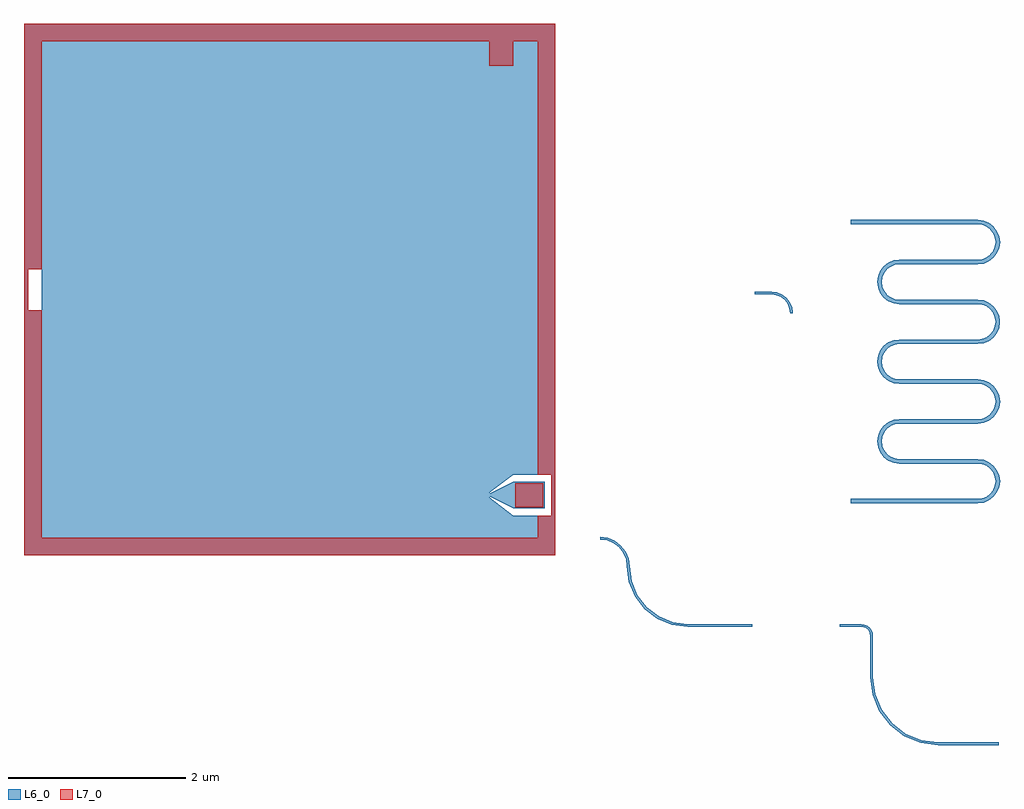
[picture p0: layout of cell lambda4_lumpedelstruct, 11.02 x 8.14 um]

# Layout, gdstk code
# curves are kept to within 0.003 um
import gdstk
lib = gdstk.Library(unit=1e-6, precision=1e-09)
def R(c, l, rs):  # rectangles x0, y0, x1, y1
    for r in rs: c.add(gdstk.rectangle(r[:2], r[2:], *l))
def P(c, l, *ps):  # polygons
    for p in ps: c.add(gdstk.Polygon(p, *l))
L6_0 = (6, 0)
L7_0 = (7, 0)

lambda4_lumpedelstruct = lib.new_cell('lambda4_lumpedelstruct')
R(lambda4_lumpedelstruct, L6_0, [(7.32,-5.142,8.007,-5.112), (4.492,-3.807,5.224,-3.777), (-2.148,-2.335,2.25,-2.305), (-2.478,-2.005,-2.448,-0.398), (-2.148,-0.098,2.069,-0.068), (2.369,0.232,2.399,2.233), (-0.578,2.2,0.352,2.23)])
P(lambda4_lumpedelstruct, L6_0, [(5.65,-0.264),(5.642,-0.21),(5.621,-0.159),(5.588,-0.116),(5.545,-0.082),(5.494,-0.061),(5.44,-0.054),(5.252,-0.054),(5.252,-0.024),(5.44,-0.024),(5.501,-0.032),(5.559,-0.056),(5.608,-0.093),(5.646,-0.142),(5.671,-0.199),(5.679,-0.264)],
  [(6.343,-2.403),(6.343,-2.373),(7.769,-2.373),(7.823,-2.366),(7.874,-2.345),(7.917,-2.311),(7.95,-2.268),(7.971,-2.217),(7.979,-2.163),(7.971,-2.109),(7.95,-2.058),(7.917,-2.015),(7.874,-1.981),(7.823,-1.96),(7.769,-1.953),(6.883,-1.953),(6.821,-1.945),(6.763,-1.921),(6.714,-1.883),(6.676,-1.833),(6.652,-1.775),(6.643,-1.713),(6.652,-1.651),(6.676,-1.593),(6.714,-1.543),(6.763,-1.505),(6.821,-1.481),(6.883,-1.473),(7.769,-1.473),(7.823,-1.466),(7.874,-1.445),(7.917,-1.411),(7.95,-1.368),(7.971,-1.317),(7.979,-1.263),(7.971,-1.209),(7.95,-1.158),(7.917,-1.115),(7.874,-1.081),(7.823,-1.06),(7.769,-1.053),(6.883,-1.053),(6.822,-1.045),(6.764,-1.021),(6.715,-0.984),(6.677,-0.935),(6.652,-0.878),(6.644,-0.816),(6.652,-0.748),(6.677,-0.691),(6.715,-0.642),(6.764,-0.605),(6.822,-0.581),(6.883,-0.573),(7.769,-0.573),(7.823,-0.566),(7.874,-0.545),(7.917,-0.511),(7.95,-0.468),(7.971,-0.417),(7.979,-0.363),(7.971,-0.309),(7.95,-0.258),(7.917,-0.215),(7.874,-0.181),(7.823,-0.16),(7.769,-0.153),(6.883,-0.153),(6.821,-0.145),(6.763,-0.121),(6.714,-0.083),(6.676,-0.033),(6.652,0.025),(6.643,0.087),(6.652,0.149),(6.676,0.207),(6.714,0.257),(6.763,0.295),(6.821,0.319),(6.883,0.327),(7.769,0.327),(7.823,0.334),(7.874,0.355),(7.917,0.389),(7.95,0.432),(7.971,0.483),(7.979,0.537),(7.971,0.591),(7.95,0.642),(7.917,0.685),(7.874,0.719),(7.823,0.74),(7.769,0.747),(6.343,0.747),(6.343,0.777),(7.769,0.777),(7.831,0.769),(7.889,0.745),(7.938,0.707),(7.976,0.657),(8,0.599),(8.009,0.537),(8,0.475),(7.976,0.417),(7.938,0.367),(7.889,0.329),(7.831,0.305),(7.769,0.297),(6.883,0.297),(6.829,0.29),(6.778,0.269),(6.735,0.235),(6.702,0.192),(6.681,0.141),(6.673,0.087),(6.681,0.033),(6.702,-0.018),(6.735,-0.061),(6.778,-0.095),(6.829,-0.116),(6.883,-0.123),(7.769,-0.123),(7.83,-0.131),(7.888,-0.155),(7.937,-0.192),(7.975,-0.241),(8,-0.298),(8.008,-0.36),(8,-0.428),(7.975,-0.485),(7.937,-0.534),(7.888,-0.571),(7.83,-0.595),(7.769,-0.603),(6.883,-0.603),(6.829,-0.61),(6.778,-0.631),(6.735,-0.665),(6.702,-0.708),(6.681,-0.759),(6.673,-0.813),(6.681,-0.867),(6.702,-0.918),(6.735,-0.961),(6.778,-0.995),(6.829,-1.016),(6.883,-1.023),(7.769,-1.023),(7.831,-1.031),(7.889,-1.055),(7.938,-1.093),(7.976,-1.143),(8,-1.201),(8.009,-1.263),(8,-1.325),(7.976,-1.383),(7.938,-1.433),(7.889,-1.471),(7.831,-1.495),(7.769,-1.503),(6.883,-1.503),(6.829,-1.51),(6.778,-1.531),(6.735,-1.565),(6.702,-1.608),(6.681,-1.659),(6.673,-1.713),(6.681,-1.767),(6.702,-1.818),(6.735,-1.861),(6.778,-1.895),(6.829,-1.916),(6.883,-1.923),(7.769,-1.923),(7.831,-1.931),(7.889,-1.955),(7.938,-1.993),(7.976,-2.043),(8,-2.101),(8.009,-2.163),(8,-2.225),(7.976,-2.283),(7.938,-2.333),(7.889,-2.371),(7.831,-2.395),(7.769,-2.403)],
  [(1.128,-2.285),(1.066,-2.277),(1.008,-2.253),(0.959,-2.215),(0.921,-2.165),(0.897,-2.107),(0.888,-2.045),(0.897,-1.983),(0.921,-1.925),(0.959,-1.875),(1.008,-1.837),(1.066,-1.813),(1.128,-1.805),(2.014,-1.805),(2.068,-1.798),(2.119,-1.777),(2.162,-1.743),(2.195,-1.7),(2.216,-1.649),(2.224,-1.595),(2.216,-1.541),(2.195,-1.49),(2.162,-1.447),(2.119,-1.413),(2.068,-1.392),(2.014,-1.385),(1.128,-1.385),(1.066,-1.377),(1.008,-1.353),(0.959,-1.315),(0.921,-1.265),(0.897,-1.207),(0.888,-1.145),(0.897,-1.083),(0.921,-1.025),(0.959,-0.975),(1.008,-0.937),(1.066,-0.913),(1.128,-0.905),(2.014,-0.905),(2.068,-0.898),(2.119,-0.877),(2.162,-0.843),(2.195,-0.8),(2.216,-0.749),(2.224,-0.695),(2.216,-0.641),(2.195,-0.59),(2.162,-0.547),(2.119,-0.513),(2.068,-0.492),(2.014,-0.485),(1.137,-0.485),(1.083,-0.492),(1.032,-0.513),(0.989,-0.547),(0.956,-0.59),(0.935,-0.641),(0.927,-0.695),(0.898,-0.695),(0.898,-0.692),(0.906,-0.63),(0.931,-0.573),(0.969,-0.524),(1.018,-0.487),(1.076,-0.463),(1.137,-0.455),(2.014,-0.455),(2.075,-0.463),(2.133,-0.487),(2.182,-0.524),(2.22,-0.573),(2.245,-0.63),(2.253,-0.692),(2.245,-0.76),(2.22,-0.817),(2.182,-0.866),(2.133,-0.903),(2.075,-0.927),(2.014,-0.935),(1.128,-0.935),(1.074,-0.942),(1.023,-0.963),(0.98,-0.997),(0.947,-1.04),(0.926,-1.091),(0.918,-1.145),(0.926,-1.199),(0.947,-1.25),(0.98,-1.293),(1.023,-1.327),(1.074,-1.348),(1.128,-1.355),(2.014,-1.355),(2.076,-1.363),(2.134,-1.387),(2.183,-1.425),(2.221,-1.475),(2.245,-1.533),(2.254,-1.595),(2.245,-1.657),(2.221,-1.715),(2.183,-1.765),(2.134,-1.803),(2.076,-1.827),(2.014,-1.835),(1.128,-1.835),(1.074,-1.842),(1.023,-1.863),(0.98,-1.897),(0.947,-1.94),(0.926,-1.991),(0.918,-2.045),(0.926,-2.099),(0.947,-2.15),(0.98,-2.193),(1.023,-2.227),(1.074,-2.248),(1.128,-2.255),(1.453,-2.255),(1.453,-2.285)],
  [(6.333,-2.413),(6.333,-2.363),(7.769,-2.363),(7.822,-2.356),(7.87,-2.336),(7.911,-2.303),(7.941,-2.264),(7.962,-2.213),(7.969,-2.164),(7.962,-2.113),(7.941,-2.062),(7.911,-2.023),(7.87,-1.99),(7.822,-1.97),(7.769,-1.963),(6.882,-1.963),(6.818,-1.955),(6.758,-1.93),(6.707,-1.89),(6.667,-1.838),(6.642,-1.778),(6.633,-1.713),(6.642,-1.648),(6.667,-1.588),(6.707,-1.536),(6.758,-1.496),(6.818,-1.471),(6.882,-1.463),(7.769,-1.463),(7.822,-1.456),(7.87,-1.436),(7.911,-1.403),(7.941,-1.364),(7.962,-1.313),(7.969,-1.264),(7.962,-1.213),(7.941,-1.162),(7.911,-1.123),(7.868,-1.089),(7.822,-1.07),(7.769,-1.063),(6.882,-1.063),(6.819,-1.055),(6.759,-1.03),(6.708,-0.991),(6.668,-0.94),(6.642,-0.881),(6.634,-0.817),(6.642,-0.745),(6.668,-0.686),(6.708,-0.635),(6.759,-0.596),(6.819,-0.571),(6.882,-0.563),(7.769,-0.563),(7.822,-0.556),(7.868,-0.537),(7.909,-0.505),(7.941,-0.464),(7.962,-0.413),(7.969,-0.364),(7.961,-0.31),(7.941,-0.262),(7.911,-0.223),(7.868,-0.189),(7.822,-0.17),(7.769,-0.163),(6.882,-0.163),(6.818,-0.155),(6.758,-0.13),(6.707,-0.09),(6.667,-0.038),(6.642,0.022),(6.633,0.087),(6.642,0.152),(6.667,0.212),(6.707,0.264),(6.758,0.304),(6.818,0.329),(6.882,0.337),(7.769,0.337),(7.822,0.344),(7.868,0.363),(7.909,0.395),(7.941,0.436),(7.962,0.487),(7.969,0.538),(7.962,0.587),(7.941,0.638),(7.911,0.677),(7.87,0.71),(7.822,0.73),(7.769,0.737),(6.333,0.737),(6.333,0.787),(7.77,0.787),(7.834,0.779),(7.894,0.754),(7.945,0.714),(7.985,0.662),(8.01,0.602),(8.019,0.537),(8.01,0.472),(7.985,0.412),(7.945,0.36),(7.894,0.32),(7.834,0.295),(7.77,0.287),(6.883,0.287),(6.83,0.28),(6.782,0.26),(6.741,0.227),(6.711,0.188),(6.69,0.137),(6.683,0.086),(6.69,0.037),(6.711,-0.014),(6.741,-0.053),(6.782,-0.086),(6.83,-0.106),(6.883,-0.113),(7.77,-0.113),(7.833,-0.121),(7.893,-0.146),(7.944,-0.185),(7.984,-0.236),(8.01,-0.295),(8.018,-0.359),(8.01,-0.431),(7.984,-0.49),(7.944,-0.541),(7.893,-0.58),(7.833,-0.605),(7.77,-0.613),(6.883,-0.613),(6.83,-0.62),(6.782,-0.64),(6.741,-0.673),(6.711,-0.712),(6.69,-0.763),(6.683,-0.814),(6.69,-0.863),(6.711,-0.914),(6.741,-0.953),(6.782,-0.986),(6.83,-1.006),(6.883,-1.013),(7.77,-1.013),(7.834,-1.021),(7.894,-1.046),(7.945,-1.086),(7.985,-1.138),(8.01,-1.198),(8.019,-1.263),(8.01,-1.328),(7.985,-1.388),(7.945,-1.44),(7.894,-1.48),(7.834,-1.505),(7.77,-1.513),(6.883,-1.513),(6.83,-1.52),(6.782,-1.54),(6.741,-1.573),(6.711,-1.612),(6.69,-1.663),(6.683,-1.714),(6.69,-1.763),(6.711,-1.814),(6.741,-1.853),(6.782,-1.886),(6.83,-1.906),(6.883,-1.913),(7.77,-1.913),(7.834,-1.921),(7.894,-1.946),(7.945,-1.986),(7.985,-2.038),(8.01,-2.098),(8.019,-2.163),(8.01,-2.228),(7.985,-2.288),(7.945,-2.34),(7.894,-2.38),(7.834,-2.405),(7.77,-2.413)],
  [(2.359,2.233),(2.154,2.508),(2.154,2.933),(2.614,2.933),(2.614,2.508),(2.409,2.233)],
  [(-2.149,-2.345),(-2.236,-2.334),(-2.318,-2.3),(-2.388,-2.245),(-2.443,-2.175),(-2.477,-2.093),(-2.488,-1.995),(-2.439,-1.995),(-2.428,-2.082),(-2.399,-2.151),(-2.352,-2.211),(-2.294,-2.256),(-2.225,-2.285),(-2.148,-2.295),(2.26,-2.295),(2.26,-2.345)],
  [(-3,-3),(-3,-2.09),(2.525,-2.09),(2.246,-2.295),(2.246,-2.345),(2.525,-2.55),(2.95,-2.55),(2.95,-2.09),(-3,-2.09),(-3,0.23),(-2.95,0.23),(-2.95,-0.23),(-2.799,-0.23),(-2.799,0.23),(-3,0.23),(-3,3),(3,3),(3,-3)],
  [(-0.486,-2.285),(-0.548,-2.277),(-0.606,-2.253),(-0.655,-2.215),(-0.693,-2.165),(-0.717,-2.107),(-0.726,-2.045),(-0.717,-1.983),(-0.693,-1.925),(-0.655,-1.875),(-0.606,-1.837),(-0.548,-1.813),(-0.486,-1.805),(0.4,-1.805),(0.454,-1.798),(0.505,-1.777),(0.548,-1.743),(0.581,-1.7),(0.602,-1.649),(0.61,-1.595),(0.602,-1.541),(0.581,-1.49),(0.548,-1.447),(0.505,-1.413),(0.454,-1.392),(0.4,-1.385),(-0.486,-1.385),(-0.548,-1.377),(-0.606,-1.353),(-0.655,-1.315),(-0.693,-1.265),(-0.717,-1.207),(-0.726,-1.145),(-0.717,-1.083),(-0.693,-1.025),(-0.655,-0.975),(-0.606,-0.937),(-0.548,-0.913),(-0.486,-0.905),(0.4,-0.905),(0.454,-0.898),(0.505,-0.877),(0.548,-0.843),(0.581,-0.8),(0.602,-0.749),(0.61,-0.695),(0.602,-0.641),(0.581,-0.59),(0.548,-0.547),(0.505,-0.513),(0.454,-0.492),(0.4,-0.485),(0.098,-0.485),(0.098,-0.455),(0.4,-0.455),(0.461,-0.463),(0.519,-0.487),(0.568,-0.524),(0.606,-0.573),(0.631,-0.63),(0.639,-0.692),(0.631,-0.76),(0.606,-0.817),(0.568,-0.866),(0.519,-0.903),(0.461,-0.927),(0.4,-0.935),(-0.486,-0.935),(-0.54,-0.942),(-0.591,-0.963),(-0.634,-0.997),(-0.667,-1.04),(-0.688,-1.091),(-0.696,-1.145),(-0.688,-1.199),(-0.667,-1.25),(-0.634,-1.293),(-0.591,-1.327),(-0.54,-1.348),(-0.486,-1.355),(0.4,-1.355),(0.462,-1.363),(0.52,-1.387),(0.569,-1.425),(0.607,-1.475),(0.631,-1.533),(0.64,-1.595),(0.631,-1.657),(0.607,-1.715),(0.569,-1.765),(0.52,-1.803),(0.462,-1.827),(0.4,-1.835),(-0.486,-1.835),(-0.54,-1.842),(-0.591,-1.863),(-0.634,-1.897),(-0.667,-1.94),(-0.688,-1.991),(-0.696,-2.045),(-0.688,-2.099),(-0.667,-2.15),(-0.634,-2.193),(-0.591,-2.227),(-0.54,-2.248),(-0.486,-2.255),(-0.199,-2.255),(-0.199,-2.285)],
  [(-1.983,-2.285),(-2.045,-2.277),(-2.103,-2.253),(-2.152,-2.215),(-2.19,-2.165),(-2.214,-2.107),(-2.223,-2.045),(-2.214,-1.983),(-2.19,-1.925),(-2.152,-1.875),(-2.103,-1.837),(-2.045,-1.813),(-1.983,-1.805),(-1.097,-1.805),(-1.043,-1.798),(-0.992,-1.777),(-0.949,-1.743),(-0.916,-1.7),(-0.895,-1.649),(-0.887,-1.595),(-0.895,-1.541),(-0.916,-1.49),(-0.949,-1.447),(-0.992,-1.413),(-1.043,-1.392),(-1.097,-1.385),(-1.983,-1.385),(-2.045,-1.377),(-2.103,-1.353),(-2.152,-1.315),(-2.19,-1.265),(-2.214,-1.207),(-2.223,-1.145),(-2.214,-1.083),(-2.19,-1.025),(-2.152,-0.975),(-2.103,-0.937),(-2.045,-0.913),(-1.983,-0.905),(-1.144,-0.905),(-1.09,-0.898),(-1.039,-0.877),(-0.996,-0.843),(-0.963,-0.8),(-0.942,-0.749),(-0.934,-0.695),(-0.905,-0.695),(-0.913,-0.76),(-0.938,-0.817),(-0.976,-0.866),(-1.025,-0.903),(-1.083,-0.927),(-1.144,-0.935),(-1.983,-0.935),(-2.037,-0.942),(-2.088,-0.963),(-2.131,-0.997),(-2.164,-1.04),(-2.185,-1.091),(-2.193,-1.145),(-2.185,-1.199),(-2.164,-1.25),(-2.131,-1.293),(-2.088,-1.327),(-2.037,-1.348),(-1.983,-1.355),(-1.097,-1.355),(-1.035,-1.363),(-0.977,-1.387),(-0.928,-1.425),(-0.89,-1.475),(-0.866,-1.533),(-0.857,-1.595),(-0.866,-1.657),(-0.89,-1.715),(-0.928,-1.765),(-0.977,-1.803),(-1.035,-1.827),(-1.097,-1.835),(-1.983,-1.835),(-2.037,-1.842),(-2.088,-1.863),(-2.131,-1.897),(-2.164,-1.94),(-2.185,-1.991),(-2.193,-2.045),(-2.185,-2.099),(-2.164,-2.15),(-2.131,-2.193),(-2.088,-2.227),(-2.037,-2.248),(-1.983,-2.255),(-1.677,-2.255),(-1.677,-2.285)],
  [(-2.299,-0.05),(-2.361,-0.042),(-2.419,-0.018),(-2.468,0.02),(-2.506,0.07),(-2.53,0.128),(-2.539,0.19),(-2.53,0.252),(-2.506,0.31),(-2.468,0.36),(-2.419,0.398),(-2.361,0.422),(-2.299,0.43),(-1.413,0.43),(-1.359,0.437),(-1.308,0.458),(-1.265,0.492),(-1.232,0.535),(-1.211,0.586),(-1.203,0.64),(-1.211,0.694),(-1.232,0.745),(-1.265,0.788),(-1.308,0.822),(-1.359,0.843),(-1.413,0.85),(-2.299,0.85),(-2.361,0.858),(-2.419,0.882),(-2.468,0.92),(-2.506,0.97),(-2.53,1.028),(-2.539,1.09),(-2.53,1.152),(-2.506,1.21),(-2.468,1.26),(-2.419,1.298),(-2.361,1.322),(-2.299,1.33),(-1.413,1.33),(-1.359,1.337),(-1.308,1.358),(-1.265,1.392),(-1.232,1.435),(-1.211,1.486),(-1.203,1.54),(-1.211,1.594),(-1.232,1.645),(-1.265,1.688),(-1.308,1.722),(-1.359,1.743),(-1.413,1.75),(-2.29,1.75),(-2.351,1.758),(-2.409,1.782),(-2.458,1.819),(-2.496,1.868),(-2.521,1.925),(-2.529,1.987),(-2.521,2.055),(-2.496,2.112),(-2.458,2.161),(-2.409,2.198),(-2.351,2.222),(-2.29,2.23),(-1.399,2.23),(-1.345,2.237),(-1.294,2.258),(-1.251,2.292),(-1.218,2.335),(-1.197,2.386),(-1.189,2.44),(-1.197,2.494),(-1.218,2.545),(-1.251,2.588),(-1.294,2.622),(-1.345,2.643),(-1.399,2.65),(-1.587,2.65),(-1.587,2.68),(-1.399,2.68),(-1.338,2.672),(-1.28,2.648),(-1.231,2.611),(-1.193,2.562),(-1.168,2.505),(-1.16,2.443),(-1.168,2.375),(-1.193,2.318),(-1.231,2.269),(-1.28,2.232),(-1.338,2.208),(-1.399,2.2),(-2.29,2.2),(-2.344,2.193),(-2.395,2.172),(-2.438,2.138),(-2.471,2.095),(-2.492,2.044),(-2.5,1.99),(-2.492,1.936),(-2.471,1.885),(-2.438,1.842),(-2.395,1.808),(-2.344,1.787),(-2.29,1.78),(-1.413,1.78),(-1.352,1.772),(-1.294,1.748),(-1.245,1.711),(-1.207,1.662),(-1.182,1.605),(-1.174,1.543),(-1.182,1.475),(-1.207,1.418),(-1.245,1.369),(-1.294,1.332),(-1.352,1.308),(-1.413,1.3),(-2.299,1.3),(-2.353,1.293),(-2.404,1.272),(-2.447,1.238),(-2.48,1.195),(-2.501,1.144),(-2.509,1.09),(-2.501,1.036),(-2.48,0.985),(-2.447,0.942),(-2.404,0.908),(-2.353,0.887),(-2.299,0.88),(-1.413,0.88),(-1.351,0.872),(-1.293,0.848),(-1.244,0.81),(-1.206,0.76),(-1.182,0.702),(-1.173,0.64),(-1.182,0.578),(-1.206,0.52),(-1.244,0.47),(-1.293,0.432),(-1.351,0.408),(-1.413,0.4),(-2.299,0.4),(-2.353,0.393),(-2.404,0.372),(-2.447,0.338),(-2.48,0.295),(-2.501,0.244),(-2.509,0.19),(-2.501,0.136),(-2.48,0.085),(-2.447,0.042),(-2.404,0.008),(-2.353,-0.013),(-2.299,-0.02),(-1.998,-0.02),(-1.998,-0.05)],
  [(1.04,-0.05),(0.978,-0.042),(0.92,-0.018),(0.871,0.02),(0.833,0.07),(0.809,0.128),(0.8,0.19),(0.809,0.252),(0.833,0.31),(0.871,0.36),(0.92,0.398),(0.978,0.422),(1.04,0.43),(1.926,0.43),(1.98,0.437),(2.031,0.458),(2.074,0.492),(2.107,0.535),(2.128,0.586),(2.136,0.64),(2.128,0.694),(2.107,0.745),(2.074,0.788),(2.031,0.822),(1.98,0.843),(1.926,0.85),(1.04,0.85),(0.978,0.858),(0.92,0.882),(0.871,0.92),(0.833,0.97),(0.809,1.028),(0.8,1.09),(0.809,1.152),(0.833,1.21),(0.871,1.26),(0.92,1.298),(0.978,1.322),(1.04,1.33),(1.926,1.33),(1.98,1.337),(2.031,1.358),(2.074,1.392),(2.107,1.435),(2.128,1.486),(2.136,1.54),(2.128,1.594),(2.107,1.645),(2.074,1.688),(2.031,1.722),(1.98,1.743),(1.926,1.75),(1.049,1.75),(0.988,1.758),(0.93,1.782),(0.881,1.819),(0.843,1.868),(0.818,1.925),(0.81,1.987),(0.818,2.055),(0.843,2.112),(0.881,2.161),(0.93,2.198),(0.988,2.222),(1.049,2.23),(1.537,2.23),(1.537,2.2),(1.049,2.2),(0.995,2.193),(0.944,2.172),(0.901,2.138),(0.868,2.095),(0.847,2.044),(0.839,1.99),(0.847,1.936),(0.868,1.885),(0.901,1.842),(0.944,1.808),(0.995,1.787),(1.049,1.78),(1.926,1.78),(1.987,1.772),(2.045,1.748),(2.094,1.711),(2.132,1.662),(2.157,1.605),(2.165,1.543),(2.157,1.475),(2.132,1.418),(2.094,1.369),(2.045,1.332),(1.987,1.308),(1.926,1.3),(1.04,1.3),(0.986,1.293),(0.935,1.272),(0.892,1.238),(0.859,1.195),(0.838,1.144),(0.83,1.09),(0.838,1.036),(0.859,0.985),(0.892,0.942),(0.935,0.908),(0.986,0.887),(1.04,0.88),(1.926,0.88),(1.988,0.872),(2.046,0.848),(2.095,0.81),(2.133,0.76),(2.157,0.702),(2.166,0.64),(2.157,0.578),(2.133,0.52),(2.095,0.47),(2.046,0.432),(1.988,0.408),(1.926,0.4),(1.04,0.4),(0.986,0.393),(0.935,0.372),(0.892,0.338),(0.859,0.295),(0.838,0.244),(0.83,0.19),(0.838,0.136),(0.859,0.085),(0.892,0.042),(0.935,0.008),(0.986,-0.013),(1.04,-0.02),(1.341,-0.02),(1.341,-0.05)],
  [(-0.587,-0.05),(-0.649,-0.042),(-0.707,-0.018),(-0.756,0.02),(-0.794,0.07),(-0.818,0.128),(-0.827,0.19),(-0.818,0.252),(-0.794,0.31),(-0.756,0.36),(-0.707,0.398),(-0.649,0.422),(-0.587,0.43),(0.299,0.43),(0.353,0.437),(0.404,0.458),(0.447,0.492),(0.48,0.535),(0.501,0.586),(0.509,0.64),(0.501,0.694),(0.48,0.745),(0.447,0.788),(0.404,0.822),(0.353,0.843),(0.299,0.85),(-0.587,0.85),(-0.649,0.858),(-0.707,0.882),(-0.756,0.92),(-0.794,0.97),(-0.818,1.028),(-0.827,1.09),(-0.818,1.152),(-0.794,1.21),(-0.756,1.26),(-0.707,1.298),(-0.649,1.322),(-0.587,1.33),(0.299,1.33),(0.353,1.337),(0.404,1.358),(0.447,1.392),(0.48,1.435),(0.501,1.486),(0.509,1.54),(0.501,1.594),(0.48,1.645),(0.447,1.688),(0.404,1.722),(0.353,1.743),(0.299,1.75),(-0.578,1.75),(-0.639,1.758),(-0.697,1.782),(-0.746,1.819),(-0.784,1.868),(-0.809,1.925),(-0.817,1.987),(-0.809,2.055),(-0.784,2.112),(-0.746,2.161),(-0.697,2.198),(-0.639,2.222),(-0.578,2.23),(-0.39,2.23),(-0.39,2.2),(-0.578,2.2),(-0.632,2.193),(-0.683,2.172),(-0.726,2.138),(-0.759,2.095),(-0.78,2.044),(-0.788,1.99),(-0.78,1.936),(-0.759,1.885),(-0.726,1.842),(-0.683,1.808),(-0.632,1.787),(-0.578,1.78),(0.299,1.78),(0.36,1.772),(0.418,1.748),(0.467,1.711),(0.505,1.662),(0.53,1.605),(0.538,1.543),(0.53,1.475),(0.505,1.418),(0.467,1.369),(0.418,1.332),(0.36,1.308),(0.299,1.3),(-0.587,1.3),(-0.641,1.293),(-0.692,1.272),(-0.735,1.238),(-0.768,1.195),(-0.789,1.144),(-0.797,1.09),(-0.789,1.036),(-0.768,0.985),(-0.735,0.942),(-0.692,0.908),(-0.641,0.887),(-0.587,0.88),(0.299,0.88),(0.361,0.872),(0.419,0.848),(0.468,0.81),(0.506,0.76),(0.53,0.702),(0.539,0.64),(0.53,0.578),(0.506,0.52),(0.468,0.47),(0.419,0.432),(0.361,0.408),(0.299,0.4),(-0.587,0.4),(-0.641,0.393),(-0.692,0.372),(-0.735,0.338),(-0.768,0.295),(-0.789,0.244),(-0.797,0.19),(-0.789,0.136),(-0.768,0.085),(-0.735,0.042),(-0.692,0.008),(-0.641,-0.013),(-0.587,-0.02),(-0.286,-0.02),(-0.286,-0.05)],
  [(7.32,-5.142),(7.122,-5.116),(6.937,-5.04),(6.779,-4.918),(6.657,-4.76),(6.581,-4.575),(6.555,-4.377),(6.555,-3.907),(6.551,-3.881),(6.541,-3.857),(6.525,-3.836),(6.505,-3.82),(6.48,-3.81),(6.21,-3.807),(6.21,-3.777),(6.455,-3.777),(6.488,-3.781),(6.52,-3.794),(6.546,-3.815),(6.567,-3.842),(6.58,-3.873),(6.585,-3.907),(6.585,-4.377),(6.61,-4.567),(6.683,-4.745),(6.8,-4.897),(6.952,-5.014),(7.129,-5.087),(7.32,-5.112)],
  [(2.069,-0.098),(2.069,-0.068),(2.147,-0.058),(2.219,-0.028),(2.281,0.02),(2.329,0.082),(2.359,0.154),(2.369,0.232),(2.399,0.232),(2.388,0.147),(2.355,0.067),(2.302,-0.001),(2.234,-0.054),(2.154,-0.087)],
  [(-2.148,-2.335),(-2.233,-2.324),(-2.313,-2.291),(-2.381,-2.238),(-2.434,-2.17),(-2.467,-2.09),(-2.478,-2.005),(-2.448,-2.005),(-2.438,-2.083),(-2.408,-2.155),(-2.36,-2.217),(-2.298,-2.265),(-2.226,-2.295),(-2.148,-2.305)],
  [(-2.478,-0.398),(-2.467,-0.313),(-2.434,-0.233),(-2.381,-0.165),(-2.313,-0.112),(-2.233,-0.079),(-2.148,-0.068),(-2.148,-0.098),(-2.226,-0.108),(-2.298,-0.138),(-2.36,-0.186),(-2.408,-0.248),(-2.438,-0.32),(-2.448,-0.398)],
  [(4.492,-3.807),(4.315,-3.784),(4.15,-3.715),(4.008,-3.606),(3.899,-3.465),(3.83,-3.299),(3.807,-3.122),(3.837,-3.122),(3.859,-3.292),(3.925,-3.45),(4.029,-3.585),(4.165,-3.689),(4.323,-3.755),(4.492,-3.777)],
  [(2.525,-2.47),(2.25,-2.335),(2.25,-2.305),(2.525,-2.17),(2.88,-2.17),(2.88,-2.47)],
  [(2.369,2.233),(2.234,2.508),(2.234,2.863),(2.534,2.863),(2.534,2.508),(2.399,2.233)],
  [(3.807,-3.122),(3.797,-3.044),(3.767,-2.972),(3.719,-2.91),(3.657,-2.862),(3.585,-2.832),(3.507,-2.822),(3.507,-2.792),(3.592,-2.803),(3.672,-2.836),(3.74,-2.889),(3.793,-2.957),(3.826,-3.037),(3.837,-3.122)])
R(lambda4_lumpedelstruct, L7_0, [(2.546,-2.457,2.865,-2.187), (2.251,2.529,2.521,2.848)])
P(lambda4_lumpedelstruct, L7_0, [(-3,-3),(-3,2.804),(-2.799,2.804),(-2.799,0.23),(-2.95,0.23),(-2.95,-0.23),(-2.799,-0.23),(-2.799,-2.802),(2.8,-2.802),(2.8,-2.55),(2.95,-2.55),(2.95,-2.09),(2.8,-2.09),(2.8,2.804),(-3,2.804),(-3,3),(3,3),(3,-3)])

lib.write_gds('lambda4_lumpedelstruct.gds')
